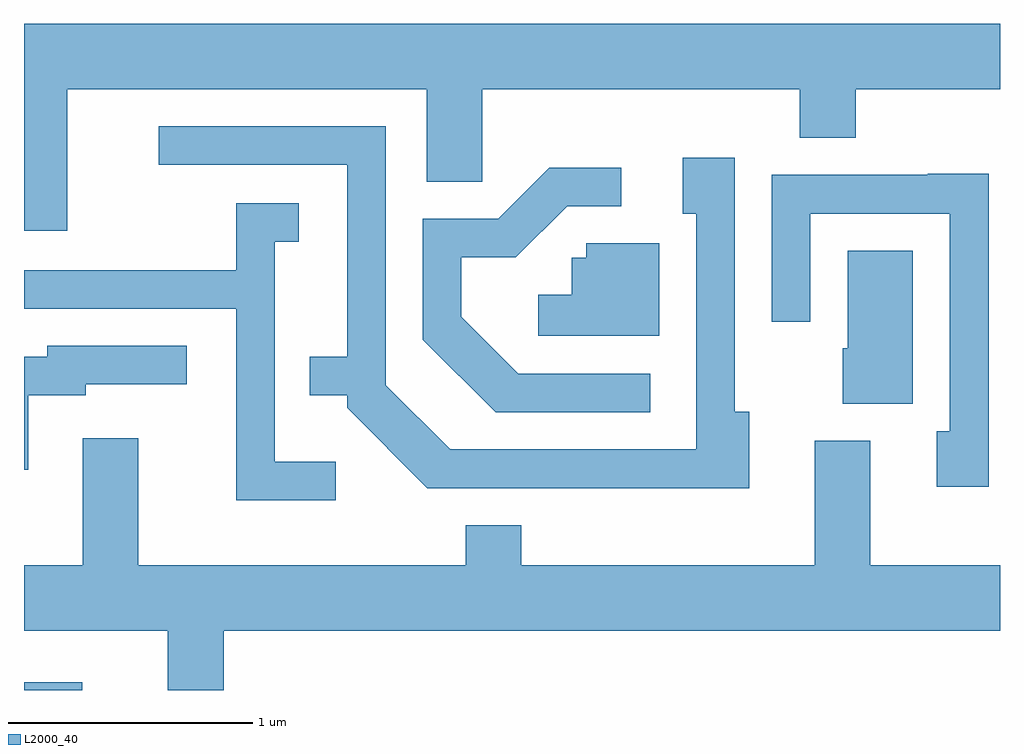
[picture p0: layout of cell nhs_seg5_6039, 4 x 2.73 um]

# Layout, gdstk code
import gdstk
lib = gdstk.Library(unit=1e-6, precision=1e-09)
def R(c, l, rs):  # rectangles x0, y0, x1, y1
    for r in rs: c.add(gdstk.rectangle(r[:2], r[2:], *l))
def P(c, l, *ps):  # polygons
    for p in ps: c.add(gdstk.Polygon(p, *l))
L2000_40 = (2000, 40)

nhs_seg5_6039 = lib.new_cell('nhs_seg5_6039')
R(nhs_seg5_6039, L2000_40, [(363.611,1492.072,363.849,1492.104)])
P(nhs_seg5_6039, L2000_40, [(363.789,1494.536),(365.261,1494.536),(365.261,1494.156),(365.489,1494.156),(365.489,1494.536),(366.791,1494.536),(366.791,1494.336),(367.019,1494.336),(367.019,1494.536),(367.611,1494.536),(367.611,1494.804),(363.611,1494.804),(363.611,1493.956),(363.789,1493.956)],
  [(366.584,1493.214),(366.524,1493.214),(366.524,1494.254),(366.311,1494.254),(366.311,1494.026),(366.366,1494.026),(366.366,1493.059),(365.357,1493.059),(365.094,1493.322),(365.094,1494.384),(364.163,1494.384),(364.163,1494.226),(364.936,1494.226),(364.936,1493.439),(364.783,1493.439),(364.783,1493.281),(364.936,1493.281),(364.936,1493.229),(365.264,1492.901),(366.584,1492.901)],
  [(366.178,1493.369),(365.637,1493.369),(365.404,1493.602),(365.404,1493.846),(365.627,1493.846),(365.837,1494.056),(366.058,1494.056),(366.058,1494.214),(365.764,1494.214),(365.554,1494.004),(365.246,1494.004),(365.246,1493.509),(365.544,1493.211),(366.178,1493.211)],
  [(367.564,1494.189),(367.315,1494.189),(367.315,1494.184),(366.676,1494.184),(366.676,1493.583),(366.834,1493.583),(366.834,1494.026),(367.406,1494.026),(367.406,1493.134),(367.351,1493.134),(367.351,1492.906),(367.564,1492.906)],
  [(364.888,1493.009),(364.639,1493.009),(364.639,1493.911),(364.738,1493.911),(364.738,1494.069),(364.481,1494.069),(364.481,1493.794),(363.611,1493.794),(363.611,1493.636),(364.481,1493.636),(364.481,1492.851),(364.888,1492.851)],
  [(366.214,1493.904),(365.916,1493.904),(365.916,1493.844),(365.856,1493.844),(365.856,1493.694),(365.718,1493.694),(365.718,1493.526),(366.214,1493.526)],
  [(367.254,1493.874),(366.986,1493.874),(366.986,1493.474),(366.966,1493.474),(366.966,1493.246),(367.254,1493.246)],
  [(363.629,1493.281),(363.864,1493.281),(363.864,1493.326),(364.278,1493.326),(364.278,1493.484),(363.706,1493.484),(363.706,1493.439),(363.611,1493.439),(363.611,1492.976),(363.629,1492.976)],
  [(364.429,1492.316),(367.611,1492.316),(367.611,1492.584),(367.079,1492.584),(367.079,1493.094),(366.851,1493.094),(366.851,1492.584),(365.649,1492.584),(365.649,1492.749),(365.421,1492.749),(365.421,1492.584),(364.079,1492.584),(364.079,1493.104),(363.851,1493.104),(363.851,1492.584),(363.611,1492.584),(363.611,1492.316),(364.201,1492.316),(364.201,1492.072),(364.429,1492.072)])

lib.write_gds('nhs_seg5_6039.gds')
